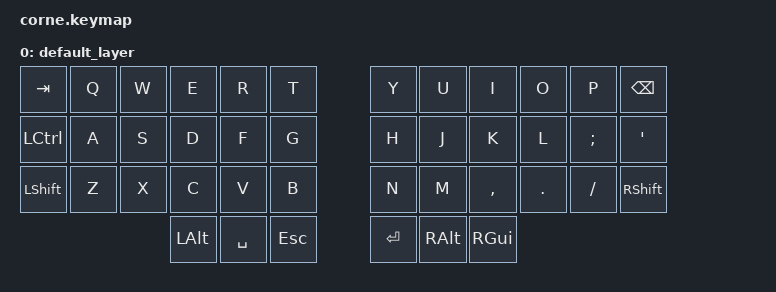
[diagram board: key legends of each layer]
#include <behaviors.dtsi>
#include <dt-bindings/zmk/keys.h>

/ {
    keymap {
        compatible = "zmk,keymap";

        default_layer {
            bindings = <
                &kp TAB    &kp Q  &kp W  &kp E  &kp R  &kp T     &kp Y                        &kp U     &kp I      &kp O    &kp P      &kp BSPC
                &kp LCTRL  &kp A  &kp S  &kp D  &kp F  &kp G     &kp H                        &kp J     &kp K      &kp L    &kp SEMI   &kp SQT
                &kp LSHFT  &kp Z  &kp X  &kp C  &kp V  &kp B     &kp N                        &kp M     &kp COMMA  &kp DOT  &kp SLASH  &kp RSHFT
                                                    &kp LALT  &kp SPACE  &kp ESC  &kp RET  &kp RALT  &kp RGUI
            >;
        };
    };
};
